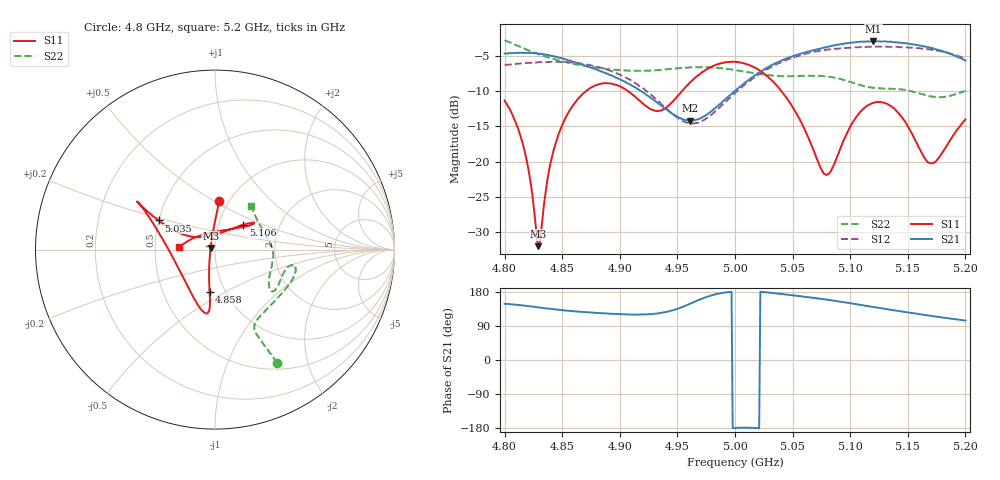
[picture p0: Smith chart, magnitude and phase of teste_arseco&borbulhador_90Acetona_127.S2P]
! Network Analyzer HP8722D
! Hewlett-Packard
! Data name: Linha & Wilkinson
! Saver's name: Rodrigo Anjos
! Comments: Teste da utilização de aquisição
! continua pelo VNA HP8722D
! Time and date: 17/4/2025 12:06
!  Frequency  S11  S21  S12  S22
# HZ  S  MA R 50
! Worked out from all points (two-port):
!   401 points, 4.8 GHz to 5.2 GHz, reference 50 ohm
!   highest |S21| = -2.98 dB at 5.12 GHz (marker M1); lowest = -14.2 dB at 4.961 GHz (marker M2)
!   |S21| within 3 dB of the highest: start of sweep to 4.862 GHz; 5.037 GHz to end of sweep
!   lowest |S11| = -32.0 dB at 4.829 GHz (marker M3), VSWR 1.05, Z = 47.7 + j0.818 ohm
!   |S11| at or under -10 dB: start of sweep to 4.871 GHz; 4.907 GHz to 4.954 GHz (47.26 MHz wide, 0.958 % of centre); 5.04 GHz to end of sweep
!   |S22| runs from -10.9 to -2.9 dB; largest |S21 - S12| = 1.3
!   S11 on the Smith chart (normalised r, x): 4.8 GHz: 0.90, +0.52; 4.858 GHz: 0.84, -0.43; 5.035 GHz: 0.50, +0.19; 5.106 GHz: 1.31, +0.38; 5.2 GHz: 0.67, +0.02
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4.8e9  0.2699 84.9  0.5813 148.3  0.4835 -112.7  0.7193 -61.1
4.817e9  0.1222 93.3  0.5881 143.4  0.4977 -112.3  0.6303 -62.2
4.822e9  0.07616 101.2  0.5867 141.7  0.5004 -112.0  0.6069 -62.6
4.829e9  0.02526 160.2  0.5801 139.1  0.5046 -111.7  0.5775 -63.0
4.831e9  0.02823 -159.1  0.5783 138.2  0.5053 -111.5  0.5695 -63.2
4.837e9  0.07336 -114.9  0.5674 135.8  0.5066 -111.4  0.5492 -63.5
4.842e9  0.1158 -106.5  0.5565 134.3  0.5062 -111.2  0.5339 -63.6
4.858e9  0.24 -97.2  0.5149 129.2  0.5018 -110.9  0.4942 -63.7
4.867e9  0.2965 -95.3  0.487 127.0  0.4918 -111.4  0.48 -62.9
4.898e9  0.3466 -102.1  0.3894 121.4  0.4186 -114.6  0.4448 -53.9
4.934e9  0.2287 -156.1  0.2556 123.3  0.2659 -114.9  0.4446 -33.5
4.961e9  0.3632 158.4  0.1945 148.4  0.1864 -88.7  0.4639 -19.9
5e9  0.5082 148.3  0.3163 -179.5  0.3057 -49.7  0.4445 -11.4
5.035e9  0.3538 152.7  0.4962 176.1  0.4837 -46.2  0.4049 -18.0
5.067e9  0.1271 146.8  0.6126 164.4  0.5949 -49.9  0.4042 -31.8
5.075e9  0.08814 125.0  0.6336 161.3  0.6115 -51.5  0.4033 -34.4
5.081e9  0.08194 95.9  0.6492 158.6  0.6206 -52.7  0.4001 -35.7
5.106e9  0.2105 41.1  0.7025 146.9  0.6425 -58.6  0.3528 -31.9
5.12e9  0.2603 35.2  0.7097 139.9  0.6486 -62.7  0.3325 -22.2
5.134e9  0.2513 34.0  0.7031 133.2  0.649 -67.3  0.3281 -10.8
5.169e9  0.09793 94.9  0.6415 117.1  0.6213 -79.4  0.29 18.8
5.2e9  0.1986 175.6  0.5191 104.1  0.5342 -89.7  0.3151 50.2
